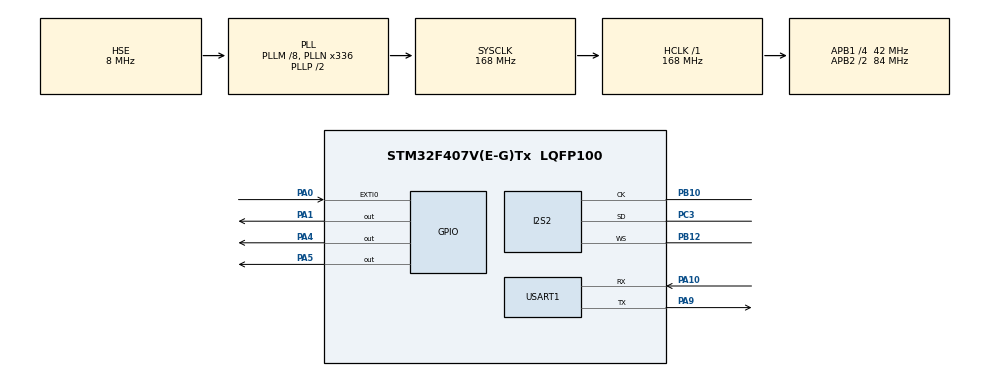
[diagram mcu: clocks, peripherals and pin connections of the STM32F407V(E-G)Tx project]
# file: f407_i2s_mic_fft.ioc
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ARM.CMSIS.5.6.0.CMSISJjCORE=true
ARM.CMSIS.5.6.0.CMSISJjDSP=Library
Dma.Request0=SPI2_RX
Dma.SPI2_RX.0.Direction=DMA_PERIPH_TO_MEMORY
Dma.SPI2_RX.0.FIFOMode=DMA_FIFOMODE_DISABLE
Dma.SPI2_RX.0.Instance=DMA1_Stream3
Dma.SPI2_RX.0.MemDataAlignment=DMA_MDATAALIGN_HALFWORD
Dma.SPI2_RX.0.MemInc=DMA_MINC_ENABLE
Dma.SPI2_RX.0.Mode=DMA_CIRCULAR
Dma.SPI2_RX.0.PeriphDataAlignment=DMA_PDATAALIGN_HALFWORD
Dma.SPI2_RX.0.PeriphInc=DMA_PINC_DISABLE
Dma.SPI2_RX.0.Priority=DMA_PRIORITY_LOW
I2S2.AudioFreq=I2S_AUDIOFREQ_32K
I2S2.DataFormat=I2S_DATAFORMAT_24B
I2S2.ErrorAudioFreq=-0.26 %
I2S2.FullDuplexMode=I2S_FULLDUPLEXMODE_DISABLE
I2S2.Instance=SPI$Index
I2S2.Mode=I2S_MODE_MASTER_RX
I2S2.RealAudioFreq=31.914 KHz
I2S2.VirtualMode=I2S_MODE_MASTER
Mcu.Family=STM32F4
Mcu.Name=STM32F407V(E-G)Tx
Mcu.Package=LQFP100
NVIC.DMA1_Stream3_IRQn=true\:0\:0\:false\:false\:true\:false\:true
NVIC.EXTI0_IRQn=true\:0\:0\:false\:false\:true\:true\:true
NVIC.PriorityGroup=NVIC_PRIORITYGROUP_4
PA0-WKUP.GPIO_PuPd=GPIO_PULLDOWN
PA0-WKUP.Signal=GPXTI0
PA1.PinState=GPIO_PIN_SET
PA1.Signal=GPIO_Output
PA10.Mode=Asynchronous
PA10.Signal=USART1_RX
PA13.Mode=Serial_Wire
PA13.Signal=SYS_JTMS-SWDIO
PA14.Mode=Serial_Wire
PA14.Signal=SYS_JTCK-SWCLK
PA4.Signal=GPIO_Output
PA5.Signal=GPIO_Output
PA9.Mode=Asynchronous
PA9.Signal=USART1_TX
PB10.Mode=Half_Duplex_Master
PB10.Signal=I2S2_CK
PB12.Mode=Half_Duplex_Master
PB12.Signal=I2S2_WS
PC3.Mode=Half_Duplex_Master
PC3.Signal=I2S2_SD
PH0-OSC_IN.Mode=HSE-External-Oscillator
PH0-OSC_IN.Signal=RCC_OSC_IN
PH1-OSC_OUT.Mode=HSE-External-Oscillator
PH1-OSC_OUT.Signal=RCC_OSC_OUT
ProjectManager.HeapSize=0x200
ProjectManager.StackSize=0x400
ProjectManager.TargetToolchain=STM32CubeIDE
RCC.48MHZClocksFreq_Value=84000000
RCC.AHBFreq_Value=168000000
RCC.APB1CLKDivider=RCC_HCLK_DIV4
RCC.APB1Freq_Value=42000000
RCC.APB1TimFreq_Value=84000000
RCC.APB2CLKDivider=RCC_HCLK_DIV2
RCC.APB2Freq_Value=84000000
RCC.APB2TimFreq_Value=168000000
RCC.CortexFreq_Value=168000000
RCC.HCLKFreq_Value=168000000
RCC.HSE_VALUE=8000000
RCC.HSI_VALUE=16000000
RCC.LSE_VALUE=32768
RCC.PLLM=8
RCC.PLLN=336
RCC.PLLSourceVirtual=RCC_PLLSOURCE_HSE
RCC.SYSCLKFreq_VALUE=168000000
RCC.SYSCLKSource=RCC_SYSCLKSOURCE_PLLCLK
RCC.VCOOutputFreq_Value=336000000
USART1.VirtualMode=VM_ASYNC
VP_ARM.CMSIS_VS_CMSISJjCORE_5.3.0.Mode=CMSISJjCORE
VP_ARM.CMSIS_VS_CMSISJjDSP_1.7.0.Mode=CMSISJjDSP
board=custom

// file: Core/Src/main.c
/* USER CODE BEGIN Header */
// DevEBox STM32F407VGT6 dev board
// Stream 24bit @ 32kHz I2S data from INMP441 microphone and compute realtime FFT
// with fixed point Q15 and floating point F32 arm cmsis FFT library calls.
/* USER CODE END Header */

#include "main.h"

/* USER CODE BEGIN Includes */
#define ARM_MATH_CM4
#include "arm_math.h"
/* USER CODE END Includes */

I2S_HandleTypeDef hi2s2;
DMA_HandleTypeDef hdma_spi2_rx;

UART_HandleTypeDef huart1;

void SystemClock_Config(void);
static void MX_GPIO_Init(void);
static void MX_DMA_Init(void);
static void MX_I2S2_Init(void);
static void MX_USART1_UART_Init(void);

/* USER CODE BEGIN 0 */

#define BUFFER_SIZE 128

// input buffer receiving  I2S stream from INMP441 microphone
uint16_t RxBuf[BUFFER_SIZE*8];

// rx dma completion state
enum RxDmaState {RXBUF_WAIT, RXBUF_HALF_FULL, RXBUF_FULL};
enum RxDmaState RxState = RXBUF_WAIT;

// ping-pong buffers, one receives data from input stream while other is
// processed for FFT.
// Note : the incoming data needs to be copied as the FFT call does
// in-place processing on the input buffer (i.e. destroys the contents).
q15_t 	Buf[2][BUFFER_SIZE];
q15_t* 	pBufRcv;
q15_t* 	pBufProc;
int 	RcvInx;

// test fixed point arithmetic versus floating point fft
//#define DO_FFT_Q15
#define DO_FFT_F32

#ifdef DO_FFT_Q15

// fft has real and imaginary components interleaved [r0,i0,r1,i1,...]
q15_t FFT_Q15[BUFFER_SIZE*2];

// fft magnitude
q15_t FFTMag_Q15[BUFFER_SIZE];

arm_rfft_instance_q15  		realFFT_inst;
#endif

#ifdef DO_FFT_F32
// extra array needed to convert Q15 windowed data into F32 input data
float Buf_F32[BUFFER_SIZE];

// fft has real and imaginary components
float FFT_F32[BUFFER_SIZE*2];
// fft magnitude
float FFTMag_F32[BUFFER_SIZE];

arm_rfft_fast_instance_f32  realFFT_inst;
#endif

const q15_t Hanning[];

void printMsg(char* format, ...) {
	char sz[100];
	va_list args;
	va_start(args, format);
	vsprintf(sz, format, args);
	HAL_UART_Transmit(&huart1, (uint8_t *)sz, strlen(sz), HAL_MAX_DELAY);
	va_end(args);
	}

void processData(void);

// on button press, print out the FFT magnitude array to uart
int DumpFFTFlag = 0;

/* USER CODE END 0 */

int main(void)
{

  /* MCU Configuration--------------------------------------------------------*/

  /* Reset of all peripherals, Initializes the Flash interface and the Systick. */
  HAL_Init();

  /* Configure the system clock */
  SystemClock_Config();

  /* Initialize all configured peripherals */
  MX_GPIO_Init();
  MX_DMA_Init();
  MX_I2S2_Init();
  MX_USART1_UART_Init();
  /* USER CODE BEGIN 2 */

	RcvInx = 0;
	pBufRcv = Buf[RcvInx];
	pBufProc = Buf[1-RcvInx];

#ifdef DO_FFT_Q15
    // length of real data array = 128, inverseFlag = 0, doBitReverse = 1
    if (ARM_MATH_SUCCESS != arm_rfft_init_q15(&realFFT_inst, BUFFER_SIZE, 0, 1)){
    	Error_Handler();
    	}
#endif

#ifdef DO_FFT_F32

    if (ARM_MATH_SUCCESS != arm_rfft_fast_init_f32(&realFFT_inst, BUFFER_SIZE)) {
    	Error_Handler();
    	}
#endif

  // The I2S stream has 32bit data frames. The 0, 2, 4 .. indices are the mic data samples (I2S L channel),
  // the 1,3,5 ... frames are 0 (I2S R channel).
  // In the 32bit L frame the data is packed as 24bit MSb first, we will just use the upper 16 bits.
  // The I2S peripheral can only transfer data in 16bit chunks, so RxBuf is a 16bit data buffer.
  // When configured for 24bit data, we need to call the receive DMA api with the number of 32bit frames, and
  // the function will transfer twice that number of half-words. So if we call with 512, we will get 1024 half-words
  // on receive complete.
  // As per the above description, only 1 of 4 half-words is significant, and we need to extract every 4th half-word
  // from RxBuf for processing.
  // This call asks for BUFFER_SIZE*4*2 half-words
  HAL_I2S_Receive_DMA(&hi2s2, RxBuf, BUFFER_SIZE*4);

  /* USER CODE END 2 */

  /* Infinite loop */
  while (1)
  {

    /* USER CODE BEGIN 3 */

	// DMA uses RxBuf in circular mode, so we expect to get a repeating sequence of
	// RXBUF_HALF_FULL and RXBUF_FULL events
	// interval between PA5 toggles gives us the transfer time for BUFFER_SIZE mic data samples
	if (RxState == RXBUF_HALF_FULL) {
		HAL_GPIO_TogglePin(GPIOA, GPIO_PIN_5);
		// extract every 4th half-word from the lower half of RxBuf
		for (int inx = 0; inx < BUFFER_SIZE; inx++) {
			pBufRcv[inx] = RxBuf[4*inx];
			}
		processData();
		RxState = RXBUF_WAIT;
		}
	else
	if (RxState == RXBUF_FULL) {
		HAL_GPIO_TogglePin(GPIOA, GPIO_PIN_5);
		// extract every 4th half-word from the upper half of rxBuf
		for (int inx = 0; inx < BUFFER_SIZE; inx++) {
			pBufRcv[inx] = RxBuf[(BUFFER_SIZE*4) + (4*inx)];
			}
		processData();
		RxState = RXBUF_WAIT;
		}

  }
  /* USER CODE END 3 */
}

void SystemClock_Config(void)
{
  RCC_OscInitTypeDef RCC_OscInitStruct = {0};
  RCC_ClkInitTypeDef RCC_ClkInitStruct = {0};
  RCC_PeriphCLKInitTypeDef PeriphClkInitStruct = {0};

  /** Configure the main internal regulator output voltage
  */
  __HAL_RCC_PWR_CLK_ENABLE();
  __HAL_PWR_VOLTAGESCALING_CONFIG(PWR_REGULATOR_VOLTAGE_SCALE1);
  /** Initializes the CPU, AHB and APB busses clocks
  */
  RCC_OscInitStruct.OscillatorType = RCC_OSCILLATORTYPE_HSE;
  RCC_OscInitStruct.HSEState = RCC_HSE_ON;
  RCC_OscInitStruct.PLL.PLLState = RCC_PLL_ON;
  RCC_OscInitStruct.PLL.PLLSource = RCC_PLLSOURCE_HSE;
  RCC_OscInitStruct.PLL.PLLM = 8;
  RCC_OscInitStruct.PLL.PLLN = 336;
  RCC_OscInitStruct.PLL.PLLP = RCC_PLLP_DIV2;
  RCC_OscInitStruct.PLL.PLLQ = 4;
  if (HAL_RCC_OscConfig(&RCC_OscInitStruct) != HAL_OK)
  {
    Error_Handler();
  }
  /** Initializes the CPU, AHB and APB busses clocks
  */
  RCC_ClkInitStruct.ClockType = RCC_CLOCKTYPE_HCLK|RCC_CLOCKTYPE_SYSCLK
                              |RCC_CLOCKTYPE_PCLK1|RCC_CLOCKTYPE_PCLK2;
  RCC_ClkInitStruct.SYSCLKSource = RCC_SYSCLKSOURCE_PLLCLK;
  RCC_ClkInitStruct.AHBCLKDivider = RCC_SYSCLK_DIV1;
  RCC_ClkInitStruct.APB1CLKDivider = RCC_HCLK_DIV4;
  RCC_ClkInitStruct.APB2CLKDivider = RCC_HCLK_DIV2;

  if (HAL_RCC_ClockConfig(&RCC_ClkInitStruct, FLASH_LATENCY_5) != HAL_OK)
  {
    Error_Handler();
  }
  PeriphClkInitStruct.PeriphClockSelection = RCC_PERIPHCLK_I2S;
  PeriphClkInitStruct.PLLI2S.PLLI2SN = 192;
  PeriphClkInitStruct.PLLI2S.PLLI2SR = 2;
  if (HAL_RCCEx_PeriphCLKConfig(&PeriphClkInitStruct) != HAL_OK)
  {
    Error_Handler();
  }
}

static void MX_I2S2_Init(void)
{

  hi2s2.Instance = SPI2;
  hi2s2.Init.Mode = I2S_MODE_MASTER_RX;
  hi2s2.Init.Standard = I2S_STANDARD_PHILIPS;
  hi2s2.Init.DataFormat = I2S_DATAFORMAT_24B;
  hi2s2.Init.MCLKOutput = I2S_MCLKOUTPUT_DISABLE;
  hi2s2.Init.AudioFreq = I2S_AUDIOFREQ_32K;
  hi2s2.Init.CPOL = I2S_CPOL_LOW;
  hi2s2.Init.ClockSource = I2S_CLOCK_PLL;
  hi2s2.Init.FullDuplexMode = I2S_FULLDUPLEXMODE_DISABLE;
  if (HAL_I2S_Init(&hi2s2) != HAL_OK)
  {
    Error_Handler();
  }

}

static void MX_USART1_UART_Init(void)
{

  huart1.Instance = USART1;
  huart1.Init.BaudRate = 115200;
  huart1.Init.WordLength = UART_WORDLENGTH_8B;
  huart1.Init.StopBits = UART_STOPBITS_1;
  huart1.Init.Parity = UART_PARITY_NONE;
  huart1.Init.Mode = UART_MODE_TX_RX;
  huart1.Init.HwFlowCtl = UART_HWCONTROL_NONE;
  huart1.Init.OverSampling = UART_OVERSAMPLING_16;
  if (HAL_UART_Init(&huart1) != HAL_OK)
  {
    Error_Handler();
  }

}

static void MX_DMA_Init(void)
{

  /* DMA controller clock enable */
  __HAL_RCC_DMA1_CLK_ENABLE();

  /* DMA interrupt init */
  /* DMA1_Stream3_IRQn interrupt configuration */
  HAL_NVIC_SetPriority(DMA1_Stream3_IRQn, 0, 0);
  HAL_NVIC_EnableIRQ(DMA1_Stream3_IRQn);

}

static void MX_GPIO_Init(void)
{
  GPIO_InitTypeDef GPIO_InitStruct = {0};

  /* GPIO Ports Clock Enable */
  __HAL_RCC_GPIOH_CLK_ENABLE();
  __HAL_RCC_GPIOC_CLK_ENABLE();
  __HAL_RCC_GPIOA_CLK_ENABLE();
  __HAL_RCC_GPIOB_CLK_ENABLE();

  /*Configure GPIO pin Output Level */
  HAL_GPIO_WritePin(GPIOA, GPIO_PIN_1, GPIO_PIN_SET);

  /*Configure GPIO pin Output Level */
  HAL_GPIO_WritePin(GPIOA, GPIO_PIN_4|GPIO_PIN_5, GPIO_PIN_RESET);

  /*Configure GPIO pin : PA0 */
  GPIO_InitStruct.Pin = GPIO_PIN_0;
  GPIO_InitStruct.Mode = GPIO_MODE_IT_RISING;
  GPIO_InitStruct.Pull = GPIO_PULLDOWN;
  HAL_GPIO_Init(GPIOA, &GPIO_InitStruct);

  /*Configure GPIO pins : PA1 PA4 PA5 */
  GPIO_InitStruct.Pin = GPIO_PIN_1|GPIO_PIN_4|GPIO_PIN_5;
  GPIO_InitStruct.Mode = GPIO_MODE_OUTPUT_PP;
  GPIO_InitStruct.Pull = GPIO_NOPULL;
  GPIO_InitStruct.Speed = GPIO_SPEED_FREQ_LOW;
  HAL_GPIO_Init(GPIOA, &GPIO_InitStruct);

  /* EXTI interrupt init*/
  HAL_NVIC_SetPriority(EXTI0_IRQn, 0, 0);
  HAL_NVIC_EnableIRQ(EXTI0_IRQn);

}

/* USER CODE BEGIN 4 */

void processData(void){
	HAL_GPIO_WritePin(GPIOA, GPIO_PIN_4, GPIO_PIN_SET);
	// swap the incoming and processing data buffers
	RcvInx ^= 1;
	pBufRcv = Buf[RcvInx];
	pBufProc = Buf[1-RcvInx];
	for(int inx = 0; inx < BUFFER_SIZE; inx++){
		pBufProc[inx] = ((q31_t)pBufProc[inx] * Hanning[inx])>>15;
#ifdef DO_FFT_F32
		Buf_F32[inx] = (float)pBufProc[inx];
#endif
		}

#ifdef DO_FFT_Q15
	// The output FFT has both real and imaginary parts interleaved [r0, i0, r1, i1, ...]
	arm_rfft_q15( &realFFT_inst, pBufProc, FFT_Q15);
    //Scale the input before computing magnitude
    for(int inx = 0; inx < BUFFER_SIZE*2; inx++){
        FFT_Q15[inx] <<= 6;
        }
    //FFT function returns the real + imaginary values.   We need to compute the magnitude
    arm_cmplx_mag_q15(FFT_Q15, FFTMag_Q15, BUFFER_SIZE);
#endif

#ifdef DO_FFT_F32
    arm_rfft_fast_f32(&realFFT_inst, Buf_F32, FFT_F32, 0);
    arm_cmplx_mag_f32(FFT_F32, FFTMag_F32, BUFFER_SIZE);
#endif

    // on PA0 button press, dump the FFT magnitude array to UART.
    // Only the first half is valid data.
    // The frequency spacing between indices corresponds to Fs/BUFFER_SIZE
    // So if we're sampling at Fs = 32kHz, BUFFER_SIZE = 128, our FFT frequency resolution
    // is 32khz/128 = 250Hz
    if (DumpFFTFlag){
    	DumpFFTFlag = 0;
    	printMsg("\r\n");
    	for (int inx = 0; inx < BUFFER_SIZE/2; inx++) {
#ifdef DO_FFT_Q15
    		printMsg("%u,", FFTMag_Q15[inx]);
#endif
#ifdef DO_FFT_F32
    		printMsg("%.1f,", FFTMag_F32[inx]);
#endif
    		}
    	}
    // PA4 pulse high time = fft processing time
	HAL_GPIO_WritePin(GPIOA, GPIO_PIN_4, GPIO_PIN_RESET);
	}

void HAL_I2S_RxHalfCpltCallback (I2S_HandleTypeDef *hi2s) {
	RxState = RXBUF_HALF_FULL;
	}

void HAL_I2S_RxCpltCallback (I2S_HandleTypeDef *hi2s) {
	RxState = RXBUF_FULL;
	}

void HAL_GPIO_EXTI_Callback(uint16_t gpioPin) {
	DumpFFTFlag = 1;
	}

// fixed point Q_15 Hanning window array can be computed in Octave with signal package loaded
// w = round(hann(128)*32768)

const q15_t Hanning[BUFFER_SIZE] =
{
    0	,
    20	,
    80	,
    180	,
    320	,
    499	,
    717	,
    973	,
    1267	,
    1597	,
    1965	,
    2367	,
    2804	,
    3273	,
    3775	,
    4308	,
    4871	,
    5461	,
    6078	,
    6721	,
    7387	,
    8075	,
    8784	,
    9511	,
    10255	,
    11014	,
    11786	,
    12569	,
    13362	,
    14162	,
    14967	,
    15776	,
    16587	,
    17397	,
    18204	,
    19007	,
    19804	,
    20592	,
    21370	,
    22136	,
    22887	,
    23623	,
    24341	,
    25039	,
    25717	,
    26371	,
    27001	,
    27606	,
    28182	,
    28730	,
    29247	,
    29734	,
    30187	,
    30607	,
    30991	,
    31341	,
    31653	,
    31928	,
    32165	,
    32364	,
    32523	,
    32643	,
    32723	,
    32763	,
    32763	,
    32723	,
    32643	,
    32523	,
    32364	,
    32165	,
    31928	,
    31653	,
    31341	,
    30991	,
    30607	,
    30187	,
    29734	,
    29247	,
    28730	,
    28182	,
    27606	,
    27001	,
    26371	,
    25717	,
    25039	,
    24341	,
    23623	,
    22887	,
    22136	,
    21370	,
    20592	,
    19804	,
    19007	,
    18204	,
    17397	,
    16587	,
    15776	,
    14967	,
    14162	,
    13362	,
    12569	,
    11786	,
    11014	,
    10255	,
    9511	,
    8784	,
    8075	,
    7387	,
    6721	,
    6078	,
    5461	,
    4871	,
    4308	,
    3775	,
    3273	,
    2804	,
    2367	,
    1965	,
    1597	,
    1267	,
    973	,
    717	,
    499	,
    320	,
    180	,
    80	,
    20	,
    0
};
/* USER CODE END 4 */

void Error_Handler(void)
{
  /* USER CODE BEGIN Error_Handler_Debug */
  /* User can add his own implementation to report the HAL error return state */
	int counter = 0;
	while (1) {
		HAL_GPIO_TogglePin(GPIOA, GPIO_PIN_1);
		while (counter < 0x3FFFF) {counter++;}
		counter = 0;
		}
  /* USER CODE END Error_Handler_Debug */
}

/************************ (C) COPYRIGHT STMicroelectronics *****END OF FILE****/
